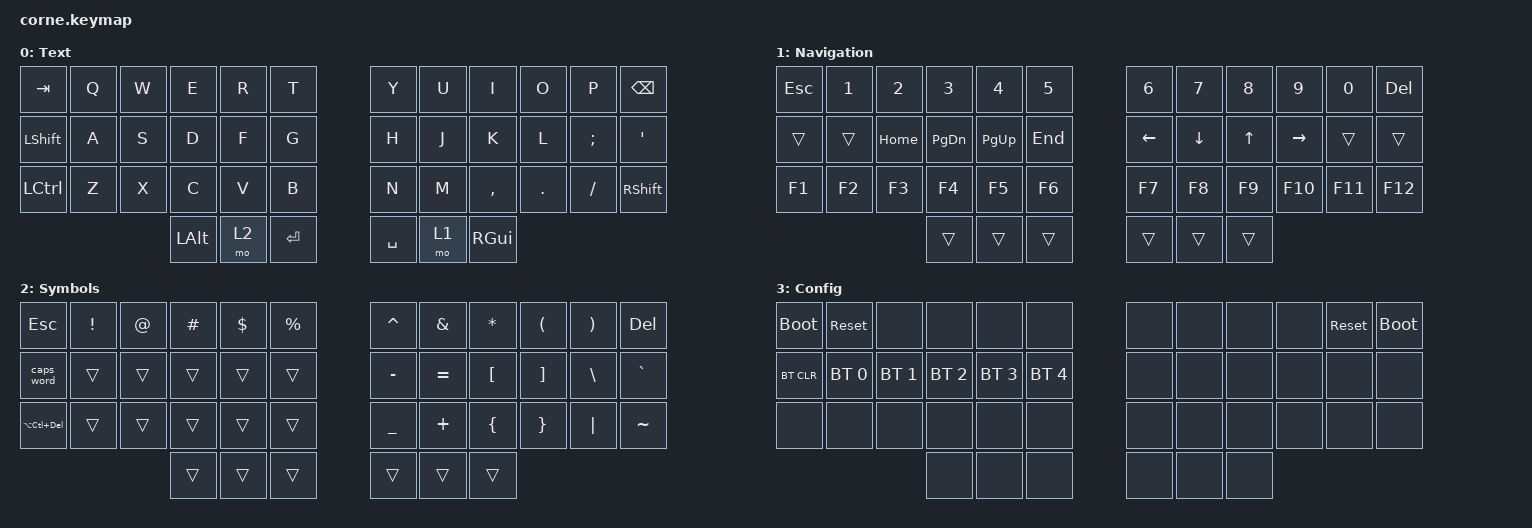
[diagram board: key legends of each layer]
/*
 * Copyright (c) 2020 The ZMK Contributors
 *
 * SPDX-License-Identifier: MIT
 */

#include <behaviors.dtsi>
#include <dt-bindings/zmk/bt.h>
#include <dt-bindings/zmk/keys.h>

/ {
    keymap {
        compatible = "zmk,keymap";

        txt_layer {
            // -----------------------------------------------------------------------------------------
            // |  TAB |  Q  |  W  |  E  |  R  |  T  |   |  Y  |  U   |  I  |  O  |  P  | BKSP |
            // | CTRL |  A  |  S  |  D  |  F  |  G  |   |  H  |  J   |  K  |  L  |  ;  |  '   |
            // | SHFT |  Z  |  X  |  C  |  V  |  B  |   |  N  |  M   |  ,  |  .  |  /  | ESC  |
            //                    | GUI | LWR | SPC |   | ENT | RSE  | ALT |

            bindings = <
&kp TAB         &kp Q  &kp W  &kp E     &kp R  &kp T         &kp Y      &kp U  &kp I          &kp O    &kp P     &kp BSPC
&kp LEFT_SHIFT  &kp A  &kp S  &kp D     &kp F  &kp G         &kp H      &kp J  &kp K          &kp L    &kp SEMI  &kp SQT
&kp LCTRL       &kp Z  &kp X  &kp C     &kp V  &kp B         &kp N      &kp M  &kp COMMA      &kp DOT  &kp FSLH  &kp RIGHT_SHIFT
                              &kp LALT  &mo 2  &kp RETURN    &kp SPACE  &mo 1  &kp RIGHT_GUI
            >;

            label = "Text";
        };

        nav_layer {
            // -----------------------------------------------------------------------------------------
            // |  TAB |  1  |  2  |  3  |  4  |  5  |   |  6  |  7  |  8  |  9  |  0  | BKSP |
            // | BTCLR| BT1 | BT2 | BT3 | BT4 | BT5 |   | LFT | DWN |  UP | RGT |     |      |
            // | SHFT |     |     |     |     |     |   |     |     |     |     |     |      |
            //                    | GUI |     | SPC |   | ENT |     | ALT |

            bindings = <
&kp ESC  &kp N1  &kp N2    &kp N3         &kp N4       &kp N5     &kp N6    &kp N7    &kp N8  &kp N9     &kp N0   &kp DEL
&trans   &trans  &kp HOME  &kp PAGE_DOWN  &kp PAGE_UP  &kp END    &kp LEFT  &kp DOWN  &kp UP  &kp RIGHT  &trans   &trans
&kp F1   &kp F2  &kp F3    &kp F4         &kp F5       &kp F6     &kp F7    &kp F8    &kp F9  &kp F10    &kp F11  &kp F12
                           &trans         &trans       &trans     &trans    &trans    &trans
            >;

            label = "Navigation";
        };

        sym_layer {
            // -----------------------------------------------------------------------------------------
            // |  TAB |  !  |  @  |  #  |  $  |  %  |   |  ^  |  &  |  *  |  (  |  )  | BKSP |
            // | CTRL |     |     |     |     |     |   |  -  |  =  |  [  |  ]  |  \  |  `   |
            // | SHFT |     |     |     |     |     |   |  _  |  +  |  {  |  }  | "|" |  ~   |
            //                    | GUI |     | SPC |   | ENT |     | ALT |

            bindings = <
&kp ESC          &kp EXCL  &kp AT  &kp HASH  &kp DLLR  &kp PRCNT    &kp CARET  &kp AMPS   &kp ASTERISK  &kp LPAR  &kp RPAR  &kp DEL
&caps_word       &trans    &trans  &trans    &trans    &trans       &kp MINUS  &kp EQUAL  &kp LBKT      &kp RBKT  &kp BSLH  &kp GRAVE
&kp LA(LC(DEL))  &trans    &trans  &trans    &trans    &trans       &kp UNDER  &kp PLUS   &kp LBRC      &kp RBRC  &kp PIPE  &kp TILDE
                                   &trans    &trans    &trans       &trans     &trans     &trans
            >;

            label = "Symbols";
        };

        cfg_layer {
            bindings = <
&bootloader  &sys_reset    &none         &none         &none         &none           &none  &none  &none  &none  &sys_reset  &bootloader
&bt BT_CLR   &bt BT_SEL 0  &bt BT_SEL 1  &bt BT_SEL 2  &bt BT_SEL 3  &bt BT_SEL 4    &none  &none  &none  &none  &none       &none
&none        &none         &none         &none         &none         &none           &none  &none  &none  &none  &none       &none
                                         &none         &none         &none           &none  &none  &none
            >;

            label = "Config";
        };
    };

    conditional_layers {
        compatible = "zmk,conditional-layers";

        bt_ctrl {
            if-layers = <1 2>;
            then-layer = <3>;
        };
    };
};
